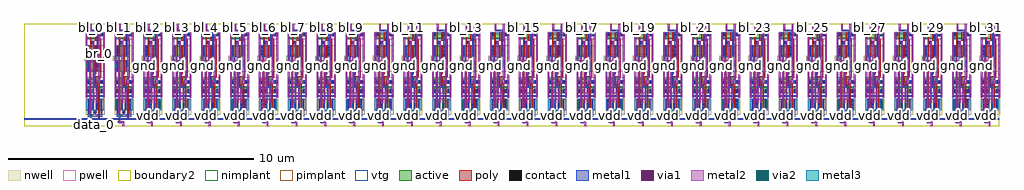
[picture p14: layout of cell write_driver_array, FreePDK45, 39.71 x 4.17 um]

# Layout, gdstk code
import gdstk
lib = gdstk.Library(unit=1e-6, precision=5e-10)
def R(c, l, rs):  # rectangles x0, y0, x1, y1
    for r in rs: c.add(gdstk.rectangle(r[:2], r[2:], *l))
def A(c, l, x, y, w, h, nx, ny, dx, dy):  # array of equal rectangles
    R(c, l, [(x+i*dx, y+j*dy, x+i*dx+w, y+j*dy+h) for i in range(nx) for j in range(ny)])
active = (1, 0)
pwell = (2, 0)
nwell = (3, 0)
nimplant = (4, 0)
pimplant = (5, 0)
vtg = (6, 0)
poly = (9, 0)
contact = (10, 0)
metal1 = (11, 0)
via1 = (12, 0)
metal2 = (13, 0)
via2 = (14, 0)
metal3 = (15, 0)
boundary2 = (239, 0)

write_driver = lib.new_cell('write_driver')
R(write_driver, active, [(0.2925,0.535,0.3825,0.625), (0.04,0.705,0.115,1.065), (0.04,0.705,0.115,1.065), (0.04,0.705,0.3,1.065), (0.225,0.705,0.3,1.065), (0.225,0.705,0.3,1.065), (0.38,0.705,0.455,1.065), (0.38,0.705,0.455,1.065), (0.38,0.705,0.64,1.065), (0.565,0.705,0.64,1.065), (0.565,0.705,0.64,1.065), (0.04,0.71,0.115,1.065), (0.225,0.71,0.3,1.065), (0.38,0.71,0.455,1.065), (0.565,0.71,0.64,1.065), (0.04,1.4,0.115,1.58), (0.04,1.4,0.115,1.58), (0.04,1.4,0.3,1.58), (0.04,1.4,0.115,1.475), (0.225,1.4,0.3,1.58), (0.225,1.4,0.3,1.58), (0.225,1.4,0.3,1.475), (0.38,1.4,0.455,1.58), (0.38,1.4,0.455,1.58), (0.38,1.4,0.64,1.58), (0.38,1.4,0.455,1.475), (0.565,1.4,0.64,1.58), (0.565,1.4,0.64,1.58), (0.565,1.4,0.64,1.475), (0.5725,1.7575,0.6625,1.8475), (0.04,1.765,0.115,1.945), (0.04,1.765,0.115,1.945), (0.04,1.765,0.115,1.84), (0.04,1.765,0.49,1.945), (0.1975,1.765,0.3375,1.945), (0.415,1.765,0.49,1.945), (0.415,1.765,0.49,1.945), (0.415,1.765,0.49,1.84), (0.04,2.28,0.115,2.64), (0.04,2.28,0.115,2.64), (0.04,2.28,0.115,2.635), (0.04,2.28,0.49,2.64), (0.1975,2.28,0.3375,2.64), (0.415,2.28,0.49,2.64), (0.415,2.28,0.49,2.64), (0.415,2.28,0.49,2.635), (-0.045,2.72,0.045,2.81), (0.04,2.8925,0.115,3.2525), (0.04,2.8925,0.115,3.2525), (0.04,2.8925,0.49,3.2525), (0.1925,2.8925,0.3325,3.2525), (0.415,2.8925,0.49,3.2525), (0.415,2.8925,0.49,3.2525), (0.04,2.8975,0.115,3.2525), (0.415,2.8975,0.49,3.2525), (0.04,3.5875,0.115,3.7675), (0.04,3.5875,0.115,3.7675), (0.04,3.5875,0.49,3.7675), (0.1925,3.5875,0.3325,3.7675), (0.415,3.5875,0.49,3.7675), (0.415,3.5875,0.49,3.7675), (0.575,3.685,0.665,3.775), (0.04,3.6925,0.115,3.7675), (0.415,3.6925,0.49,3.7675)])
R(write_driver, pwell, [(-0.035,1.345,0.74,2), (-0.015,1.345,0.355,1.635), (0.325,1.345,0.695,1.635), (0.5175,1.7025,0.7175,1.9025), (-0.015,1.71,0.545,2), (-0.035,3.5325,0.74,3.83), (-0.015,3.5325,0.545,3.8225), (0.52,3.63,0.72,3.83)])
R(write_driver, nwell, [(-0.035,0.48,0.74,1.12), (0.2375,0.48,0.4375,0.68), (-0.015,0.65,0.355,1.12), (0.325,0.65,0.695,1.12), (-0.035,2.225,0.74,3.3), (-0.015,2.225,0.545,2.695), (-0.1,2.665,0.1,2.865), (-0.015,2.8375,0.545,3.3075)])
R(write_driver, nimplant, [(0.2925,0.535,0.3825,0.625), (0.04,1.4,0.3,1.58), (0.38,1.4,0.64,1.58), (0.04,1.765,0.49,1.945), (-0.045,2.72,0.045,2.81), (0.04,3.5875,0.49,3.7675)])
R(write_driver, pimplant, [(0.04,0.705,0.3,1.065), (0.38,0.705,0.64,1.065), (0.5725,1.7575,0.6625,1.8475), (0.04,2.28,0.49,2.64), (0.04,2.8925,0.49,3.2525), (0.575,3.685,0.665,3.775)])
R(write_driver, vtg, [(-0.015,0.65,0.355,1.12), (0.325,0.65,0.695,1.12), (-0.015,1.345,0.355,1.635), (0.325,1.345,0.695,1.635), (-0.015,1.71,0.545,2), (-0.015,2.225,0.545,2.695), (-0.015,2.8375,0.545,3.3075), (-0.015,3.5325,0.545,3.8225)])
R(write_driver, poly, [(0.1325,0.1325,0.2075,0.2075), (0.145,0.1375,0.195,0.65), (0.4725,0.2625,0.5475,0.3375), (0.485,0.2675,0.535,0.65), (0.145,0.65,0.195,0.705), (0.145,0.65,0.195,1.12), (0.485,0.65,0.535,0.705), (0.485,0.65,0.535,1.12), (0.145,1.065,0.195,1.12), (0.485,1.065,0.535,1.12), (0.145,1.12,0.195,1.345), (0.485,1.12,0.535,1.345), (0.145,1.345,0.195,1.635), (0.145,1.345,0.195,1.4), (0.485,1.345,0.535,1.635), (0.485,1.345,0.535,1.4), (0.145,1.58,0.195,1.635), (0.485,1.58,0.535,1.635), (0.145,1.635,0.195,1.71), (0.485,1.635,0.535,1.66), (0.335,1.66,0.535,1.71), (0.145,1.71,0.195,2), (0.145,1.71,0.195,1.765), (0.335,1.71,0.385,2), (0.335,1.71,0.385,1.765), (0.145,1.945,0.195,2), (0.335,1.945,0.385,2), (0.335,1.995,0.59,2.045), (0.54,1.995,0.59,3.4825), (0.145,2,0.195,2.225), (0.2775,2.12,0.3525,2.195), (0.335,2.12,0.385,2.225), (0.145,2.225,0.195,2.28), (0.145,2.225,0.195,2.695), (0.335,2.225,0.385,2.28), (0.335,2.225,0.385,2.695), (0.145,2.64,0.195,2.695), (0.335,2.64,0.385,2.695), (0.335,2.695,0.385,2.8375), (0.145,2.8375,0.195,2.8925), (0.145,2.8375,0.195,3.3075), (0.335,2.8375,0.385,2.8925), (0.335,2.8375,0.385,3.3075), (0.145,3.2525,0.195,3.3075), (0.335,3.2525,0.385,3.3075), (0.145,3.3075,0.195,3.5325), (0.18,3.37,0.255,3.445), (0.335,3.4825,0.59,3.5325), (0.145,3.5325,0.195,3.8225), (0.145,3.5325,0.195,3.5875), (0.335,3.5325,0.385,3.8225), (0.335,3.5325,0.385,3.5875), (0.145,3.7675,0.195,3.8225), (0.335,3.7675,0.385,3.8225)])
A(write_driver, contact, 0.045, 0.715, 0.065, 0.065, 1, 3, 0, 0.14)
A(write_driver, contact, 0.23, 0.715, 0.065, 0.065, 1, 3, 0, 0.14)
A(write_driver, contact, 0.385, 0.715, 0.065, 0.065, 1, 3, 0, 0.14)
A(write_driver, contact, 0.57, 0.715, 0.065, 0.065, 1, 3, 0, 0.14)
A(write_driver, contact, 0.045, 2.285, 0.065, 0.065, 1, 3, 0, 0.14)
A(write_driver, contact, 0.42, 2.285, 0.065, 0.065, 1, 3, 0, 0.14)
A(write_driver, contact, 0.045, 2.9025, 0.065, 0.065, 1, 3, 0, 0.14)
A(write_driver, contact, 0.42, 2.9025, 0.065, 0.065, 1, 3, 0, 0.14)
R(write_driver, contact, [(0.1375,0.1375,0.2025,0.2025), (0.4775,0.2675,0.5425,0.3325), (0.305,0.5475,0.37,0.6125), (0.045,1.405,0.11,1.47), (0.23,1.405,0.295,1.47), (0.385,1.405,0.45,1.47), (0.57,1.405,0.635,1.47), (0.045,1.77,0.11,1.835), (0.42,1.77,0.485,1.835), (0.585,1.77,0.65,1.835), (0.2825,2.125,0.3475,2.19), (-0.0325,2.7325,0.0325,2.7975), (0.185,3.375,0.25,3.44), (0.045,3.6975,0.11,3.7625), (0.42,3.6975,0.485,3.7625), (0.5875,3.6975,0.6525,3.7625)])
R(write_driver, metal1, [(0.2075,0.135,0.3425,0.2), (0.1025,0.1375,0.2375,0.2025), (0.045,0.2675,0.635,0.3325), (0.045,0.2675,0.635,0.3325), (0.045,0.3975,0.635,0.4625), (0.105,0.3975,0.24,0.4625), (0.045,0.4625,0.11,0.68), (0.3025,0.4625,0.3675,0.6125), (0.57,0.4625,0.635,0.68), (0.27,0.5475,0.405,0.6125), (0.045,0.68,0.11,1.095), (0.23,0.68,0.295,1.095), (0.385,0.68,0.45,1.095), (0.57,0.68,0.635,1.095), (0.2475,0.96,0.3125,1.095), (0.3875,0.96,0.4525,1.095), (-0.0325,1.165,0.0325,1.3), (0.6725,1.165,0.7375,1.3), (-0.035,1.2,0.74,1.265), (-0.0325,1.37,0.0325,1.505), (0.0275,1.37,0.04,1.505), (0.035,1.37,0.045,1.505), (0.045,1.37,0.11,1.505), (0.23,1.37,0.295,1.505), (0.2475,1.37,0.3125,1.505), (0.385,1.37,0.45,1.505), (0.3875,1.37,0.4525,1.505), (0.57,1.37,0.635,1.505), (0.63,1.37,0.6725,1.505), (0.6725,1.37,0.7375,1.505), (0.38,1.4525,0.445,1.5775), (0.2825,1.5775,0.3475,2.175), (0.2825,1.5775,0.445,1.6425), (-0.0325,1.735,0.0325,1.87), (0.0275,1.735,0.04,1.87), (0.035,1.735,0.045,1.87), (0.045,1.735,0.11,1.87), (0.4175,1.735,0.4825,1.87), (0.42,1.735,0.485,1.87), (0.585,1.735,0.65,1.87), (0.65,1.735,0.6725,1.87), (0.6725,1.735,0.7375,1.87), (0.2825,2.09,0.3475,2.225), (0.045,2.25,0.11,2.665), (0.4175,2.25,0.4825,2.385), (0.42,2.25,0.485,2.665), (0.095,2.65,0.11,2.785), (0.1075,2.65,0.1725,2.785), (0.045,2.665,0.11,2.8675), (-0.0325,2.6975,0.0325,2.8325), (0.0325,2.6975,0.175,2.8325), (0.045,2.8675,0.11,3.2825), (0.42,2.8675,0.485,3.2825), (0.42,3.2825,0.485,3.6625), (0.185,3.34,0.25,3.475), (0.2475,3.34,0.3125,3.475), (-0.0325,3.6625,0.0325,3.7975), (0.0275,3.6625,0.04,3.7975), (0.035,3.6625,0.045,3.7975), (0.045,3.6625,0.11,3.7975), (0.42,3.6625,0.485,3.7975), (0.5875,3.6625,0.6525,3.7975), (0.6525,3.6625,0.6725,3.7975), (0.6725,3.6625,0.7375,3.7975), (0.42,3.7975,0.485,3.8725), (0.15,3.8725,0.485,3.9375), (0.1525,3.8725,0.2175,4.0075)])
R(write_driver, via1, [(0.2425,0.135,0.3075,0.2), (0.14,0.3975,0.205,0.4625), (0.2475,0.995,0.3125,1.06), (0.3875,0.995,0.4525,1.06), (-0.0325,1.2,0.0325,1.265), (0.6725,1.2,0.7375,1.265), (-0.0325,1.405,0.0325,1.47), (0.2475,1.405,0.3125,1.47), (0.3875,1.405,0.4525,1.47), (0.6725,1.405,0.7375,1.47), (-0.0325,1.77,0.0325,1.835), (0.4175,1.77,0.4825,1.835), (0.6725,1.77,0.7375,1.835), (0.4175,2.285,0.4825,2.35), (0.1075,2.685,0.1725,2.75), (0.2475,3.375,0.3125,3.44), (-0.0325,3.6975,0.0325,3.7625), (0.6725,3.6975,0.7375,3.7625), (0.1525,3.9075,0.2175,3.9725)])
R(write_driver, metal2, [(0.28,0,0.35,0.14), (0.28,0,0.35,0.14), (0.1575,0.1325,0.35,0.2025), (0.2075,0.1325,0.3425,0.2025), (0.105,0.395,0.24,0.465), (0.105,0.395,0.24,0.465), (0.105,0.465,0.175,2.785), (0.245,0.96,0.315,1.095), (0.385,0.96,0.455,1.095), (0.245,1.095,0.315,1.37), (0.385,1.095,0.455,1.37), (-0.035,1.1625,0.035,3.7975), (-0.035,1.1625,0.035,3.7975), (-0.035,1.165,0.035,1.3), (0.67,1.165,0.74,3.7975), (0.67,1.165,0.74,1.3), (-0.035,1.37,0.035,1.505), (0.245,1.37,0.315,3.4675), (0.245,1.37,0.315,1.505), (0.385,1.37,0.455,1.505), (0.67,1.37,0.74,1.505), (-0.035,1.735,0.035,1.87), (0.415,1.735,0.485,1.87), (0.485,1.735,0.555,4.175), (0.485,1.735,0.555,4.175), (0.67,1.735,0.74,1.87), (0.415,2.25,0.485,2.385), (0.105,2.65,0.175,2.785), (0.245,3.34,0.315,3.475), (-0.035,3.6625,0.035,3.7975), (0.67,3.6625,0.74,3.7975), (0.15,3.8725,0.22,4.0075), (0.15,3.875,0.22,4.175), (0.15,3.875,0.22,4.175)])
R(write_driver, boundary2, [(0,0,0.705,4.175)])
write_driver.add(gdstk.Label('en', (0.3325,0.3), layer=11, texttype=0))
write_driver.add(gdstk.Label('din', (0.32,0.035), layer=13, texttype=0))
write_driver.add(gdstk.Label('vdd', (0.1725,0.4325), layer=13, texttype=0))
write_driver.add(gdstk.Label('br', (0.52,4.15), layer=13, texttype=0))
write_driver.add(gdstk.Label('bl', (0.19,4.138), layer=13, texttype=0))
write_driver.add(gdstk.Label('gnd', (-0.005,1.57), layer=13, texttype=0))
write_driver.add(gdstk.Label('din', (0.315,0.07), layer=13, texttype=0))
write_driver.add(gdstk.Label('bl', (0.185,4.025), layer=13, texttype=0))
write_driver.add(gdstk.Label('br', (0.52,2.955), layer=13, texttype=0))
write_driver.add(gdstk.Label('en', (0.34,0.3), layer=11, texttype=0))
write_driver.add(gdstk.Label('vdd', (0.1725,0.43), layer=13, texttype=0))
write_driver.add(gdstk.Label('gnd', (0,2.48), layer=13, texttype=0))

contact_22 = lib.new_cell('contact_22')
R(contact_22, metal2, [(0,0,0.07,0.135)])
R(contact_22, via2, [(0.0025,0.035,0.0675,0.1)])
R(contact_22, metal3, [(0,0,0.07,0.135)])
R(contact_22, boundary2, [(0,0,0.07,0.135)])

write_driver_array = lib.new_cell('write_driver_array')
R(write_driver_array, metal1, [(0,0.2675,39.675,0.3325)])
A(write_driver_array, metal2, 2.825, 0, 0.07, 0.14, 32, 1, 1.175, 0)
A(write_driver_array, metal2, 3.03, 1.735, 0.07, 2.44, 32, 1, 1.175, 0)
A(write_driver_array, metal2, 2.695, 3.875, 0.07, 0.3, 32, 1, 1.175, 0)
A(write_driver_array, metal3, 2.6825, 0.3625, 0.07, 0.135, 32, 1, 1.175, 0)
A(write_driver_array, metal3, 2.51, 2.4125, 0.07, 0.135, 32, 1, 1.175, 0)
R(write_driver_array, boundary2, [(0,0,39.675,4.175)])
write_driver_array.add(gdstk.Reference(write_driver, (2.545,0)))
write_driver_array.add(gdstk.Reference(write_driver, (3.72,0)))
write_driver_array.add(gdstk.Reference(write_driver, (4.895,0)))
write_driver_array.add(gdstk.Reference(write_driver, (6.07,0)))
write_driver_array.add(gdstk.Reference(write_driver, (7.245,0)))
write_driver_array.add(gdstk.Reference(write_driver, (8.42,0)))
write_driver_array.add(gdstk.Reference(write_driver, (9.595,0)))
write_driver_array.add(gdstk.Reference(write_driver, (10.77,0)))
write_driver_array.add(gdstk.Reference(write_driver, (11.945,0)))
write_driver_array.add(gdstk.Reference(write_driver, (13.12,0)))
write_driver_array.add(gdstk.Reference(write_driver, (14.295,0)))
write_driver_array.add(gdstk.Reference(write_driver, (15.47,0)))
write_driver_array.add(gdstk.Reference(write_driver, (16.645,0)))
write_driver_array.add(gdstk.Reference(write_driver, (17.82,0)))
write_driver_array.add(gdstk.Reference(write_driver, (18.995,0)))
write_driver_array.add(gdstk.Reference(write_driver, (20.17,0)))
write_driver_array.add(gdstk.Reference(write_driver, (21.345,0)))
write_driver_array.add(gdstk.Reference(write_driver, (22.52,0)))
write_driver_array.add(gdstk.Reference(write_driver, (23.695,0)))
write_driver_array.add(gdstk.Reference(write_driver, (24.87,0)))
write_driver_array.add(gdstk.Reference(write_driver, (26.045,0)))
write_driver_array.add(gdstk.Reference(write_driver, (27.22,0)))
write_driver_array.add(gdstk.Reference(write_driver, (28.395,0)))
write_driver_array.add(gdstk.Reference(write_driver, (29.57,0)))
write_driver_array.add(gdstk.Reference(write_driver, (30.745,0)))
write_driver_array.add(gdstk.Reference(write_driver, (31.92,0)))
write_driver_array.add(gdstk.Reference(write_driver, (33.095,0)))
write_driver_array.add(gdstk.Reference(write_driver, (34.27,0)))
write_driver_array.add(gdstk.Reference(write_driver, (35.445,0)))
write_driver_array.add(gdstk.Reference(write_driver, (36.62,0)))
write_driver_array.add(gdstk.Reference(write_driver, (37.795,0)))
write_driver_array.add(gdstk.Reference(write_driver, (38.97,0)))
write_driver_array.add(gdstk.Reference(contact_22, (2.6825,0.3625)))
write_driver_array.add(gdstk.Reference(contact_22, (2.51,2.4125)))
write_driver_array.add(gdstk.Reference(contact_22, (3.8575,0.3625)))
write_driver_array.add(gdstk.Reference(contact_22, (3.685,2.4125)))
write_driver_array.add(gdstk.Reference(contact_22, (5.0325,0.3625)))
write_driver_array.add(gdstk.Reference(contact_22, (4.86,2.4125)))
write_driver_array.add(gdstk.Reference(contact_22, (6.2075,0.3625)))
write_driver_array.add(gdstk.Reference(contact_22, (6.035,2.4125)))
write_driver_array.add(gdstk.Reference(contact_22, (7.3825,0.3625)))
write_driver_array.add(gdstk.Reference(contact_22, (7.21,2.4125)))
write_driver_array.add(gdstk.Reference(contact_22, (8.5575,0.3625)))
write_driver_array.add(gdstk.Reference(contact_22, (8.385,2.4125)))
write_driver_array.add(gdstk.Reference(contact_22, (9.7325,0.3625)))
write_driver_array.add(gdstk.Reference(contact_22, (9.56,2.4125)))
write_driver_array.add(gdstk.Reference(contact_22, (10.9075,0.3625)))
write_driver_array.add(gdstk.Reference(contact_22, (10.735,2.4125)))
write_driver_array.add(gdstk.Reference(contact_22, (12.0825,0.3625)))
write_driver_array.add(gdstk.Reference(contact_22, (11.91,2.4125)))
write_driver_array.add(gdstk.Reference(contact_22, (13.2575,0.3625)))
write_driver_array.add(gdstk.Reference(contact_22, (13.085,2.4125)))
write_driver_array.add(gdstk.Reference(contact_22, (14.4325,0.3625)))
write_driver_array.add(gdstk.Reference(contact_22, (14.26,2.4125)))
write_driver_array.add(gdstk.Reference(contact_22, (15.6075,0.3625)))
write_driver_array.add(gdstk.Reference(contact_22, (15.435,2.4125)))
write_driver_array.add(gdstk.Reference(contact_22, (16.7825,0.3625)))
write_driver_array.add(gdstk.Reference(contact_22, (16.61,2.4125)))
write_driver_array.add(gdstk.Reference(contact_22, (17.9575,0.3625)))
write_driver_array.add(gdstk.Reference(contact_22, (17.785,2.4125)))
write_driver_array.add(gdstk.Reference(contact_22, (19.1325,0.3625)))
write_driver_array.add(gdstk.Reference(contact_22, (18.96,2.4125)))
write_driver_array.add(gdstk.Reference(contact_22, (20.3075,0.3625)))
write_driver_array.add(gdstk.Reference(contact_22, (20.135,2.4125)))
write_driver_array.add(gdstk.Reference(contact_22, (21.4825,0.3625)))
write_driver_array.add(gdstk.Reference(contact_22, (21.31,2.4125)))
write_driver_array.add(gdstk.Reference(contact_22, (22.6575,0.3625)))
write_driver_array.add(gdstk.Reference(contact_22, (22.485,2.4125)))
write_driver_array.add(gdstk.Reference(contact_22, (23.8325,0.3625)))
write_driver_array.add(gdstk.Reference(contact_22, (23.66,2.4125)))
write_driver_array.add(gdstk.Reference(contact_22, (25.0075,0.3625)))
write_driver_array.add(gdstk.Reference(contact_22, (24.835,2.4125)))
write_driver_array.add(gdstk.Reference(contact_22, (26.1825,0.3625)))
write_driver_array.add(gdstk.Reference(contact_22, (26.01,2.4125)))
write_driver_array.add(gdstk.Reference(contact_22, (27.3575,0.3625)))
write_driver_array.add(gdstk.Reference(contact_22, (27.185,2.4125)))
write_driver_array.add(gdstk.Reference(contact_22, (28.5325,0.3625)))
write_driver_array.add(gdstk.Reference(contact_22, (28.36,2.4125)))
write_driver_array.add(gdstk.Reference(contact_22, (29.7075,0.3625)))
write_driver_array.add(gdstk.Reference(contact_22, (29.535,2.4125)))
write_driver_array.add(gdstk.Reference(contact_22, (30.8825,0.3625)))
write_driver_array.add(gdstk.Reference(contact_22, (30.71,2.4125)))
write_driver_array.add(gdstk.Reference(contact_22, (32.0575,0.3625)))
write_driver_array.add(gdstk.Reference(contact_22, (31.885,2.4125)))
write_driver_array.add(gdstk.Reference(contact_22, (33.2325,0.3625)))
write_driver_array.add(gdstk.Reference(contact_22, (33.06,2.4125)))
write_driver_array.add(gdstk.Reference(contact_22, (34.4075,0.3625)))
write_driver_array.add(gdstk.Reference(contact_22, (34.235,2.4125)))
write_driver_array.add(gdstk.Reference(contact_22, (35.5825,0.3625)))
write_driver_array.add(gdstk.Reference(contact_22, (35.41,2.4125)))
write_driver_array.add(gdstk.Reference(contact_22, (36.7575,0.3625)))
write_driver_array.add(gdstk.Reference(contact_22, (36.585,2.4125)))
write_driver_array.add(gdstk.Reference(contact_22, (37.9325,0.3625)))
write_driver_array.add(gdstk.Reference(contact_22, (37.76,2.4125)))
write_driver_array.add(gdstk.Reference(contact_22, (39.1075,0.3625)))
write_driver_array.add(gdstk.Reference(contact_22, (38.935,2.4125)))
write_driver_array.add(gdstk.Label('data_0', (2.86,0.07), layer=13, texttype=0))
write_driver_array.add(gdstk.Label('bl_0', (2.73,4.025), layer=13, texttype=0))
write_driver_array.add(gdstk.Label('br_0', (3.065,2.955), layer=13, texttype=0))
write_driver_array.add(gdstk.Label('vdd', (27.3925,0.43), layer=15, texttype=0))
write_driver_array.add(gdstk.Label('vdd', (37.9675,0.43), layer=15, texttype=0))
write_driver_array.add(gdstk.Label('vdd', (36.7925,0.43), layer=15, texttype=0))
write_driver_array.add(gdstk.Label('vdd', (33.2675,0.43), layer=15, texttype=0))
write_driver_array.add(gdstk.Label('vdd', (30.9175,0.43), layer=15, texttype=0))
write_driver_array.add(gdstk.Label('vdd', (13.2925,0.43), layer=15, texttype=0))
write_driver_array.add(gdstk.Label('vdd', (3.8925,0.43), layer=15, texttype=0))
write_driver_array.add(gdstk.Label('vdd', (19.1675,0.43), layer=15, texttype=0))
write_driver_array.add(gdstk.Label('vdd', (2.7175,0.43), layer=15, texttype=0))
write_driver_array.add(gdstk.Label('vdd', (14.4675,0.43), layer=15, texttype=0))
write_driver_array.add(gdstk.Label('vdd', (35.6175,0.43), layer=15, texttype=0))
write_driver_array.add(gdstk.Label('vdd', (8.5925,0.43), layer=15, texttype=0))
write_driver_array.add(gdstk.Label('vdd', (20.3425,0.43), layer=15, texttype=0))
write_driver_array.add(gdstk.Label('vdd', (26.2175,0.43), layer=15, texttype=0))
write_driver_array.add(gdstk.Label('vdd', (28.5675,0.43), layer=15, texttype=0))
write_driver_array.add(gdstk.Label('vdd', (10.9425,0.43), layer=15, texttype=0))
write_driver_array.add(gdstk.Label('vdd', (6.2425,0.43), layer=15, texttype=0))
write_driver_array.add(gdstk.Label('vdd', (39.1425,0.43), layer=15, texttype=0))
write_driver_array.add(gdstk.Label('vdd', (15.6425,0.43), layer=15, texttype=0))
write_driver_array.add(gdstk.Label('vdd', (25.0425,0.43), layer=15, texttype=0))
write_driver_array.add(gdstk.Label('vdd', (21.5175,0.43), layer=15, texttype=0))
write_driver_array.add(gdstk.Label('vdd', (9.7675,0.43), layer=15, texttype=0))
write_driver_array.add(gdstk.Label('vdd', (34.4425,0.43), layer=15, texttype=0))
write_driver_array.add(gdstk.Label('vdd', (22.6925,0.43), layer=15, texttype=0))
write_driver_array.add(gdstk.Label('vdd', (12.1175,0.43), layer=15, texttype=0))
write_driver_array.add(gdstk.Label('vdd', (7.4175,0.43), layer=15, texttype=0))
write_driver_array.add(gdstk.Label('vdd', (5.0675,0.43), layer=15, texttype=0))
write_driver_array.add(gdstk.Label('vdd', (16.8175,0.43), layer=15, texttype=0))
write_driver_array.add(gdstk.Label('vdd', (23.8675,0.43), layer=15, texttype=0))
write_driver_array.add(gdstk.Label('vdd', (17.9925,0.43), layer=15, texttype=0))
write_driver_array.add(gdstk.Label('vdd', (29.7425,0.43), layer=15, texttype=0))
write_driver_array.add(gdstk.Label('vdd', (32.0925,0.43), layer=15, texttype=0))
write_driver_array.add(gdstk.Label('gnd', (3.72,2.48), layer=15, texttype=0))
write_driver_array.add(gdstk.Label('gnd', (10.77,2.48), layer=15, texttype=0))
write_driver_array.add(gdstk.Label('gnd', (17.82,2.48), layer=15, texttype=0))
write_driver_array.add(gdstk.Label('gnd', (2.545,2.48), layer=15, texttype=0))
write_driver_array.add(gdstk.Label('gnd', (15.47,2.48), layer=15, texttype=0))
write_driver_array.add(gdstk.Label('gnd', (7.245,2.48), layer=15, texttype=0))
write_driver_array.add(gdstk.Label('gnd', (37.795,2.48), layer=15, texttype=0))
write_driver_array.add(gdstk.Label('gnd', (31.92,2.48), layer=15, texttype=0))
write_driver_array.add(gdstk.Label('gnd', (28.395,2.48), layer=15, texttype=0))
write_driver_array.add(gdstk.Label('gnd', (30.745,2.48), layer=15, texttype=0))
write_driver_array.add(gdstk.Label('gnd', (21.345,2.48), layer=15, texttype=0))
write_driver_array.add(gdstk.Label('gnd', (33.095,2.48), layer=15, texttype=0))
write_driver_array.add(gdstk.Label('gnd', (14.295,2.48), layer=15, texttype=0))
write_driver_array.add(gdstk.Label('gnd', (29.57,2.48), layer=15, texttype=0))
write_driver_array.add(gdstk.Label('gnd', (13.12,2.48), layer=15, texttype=0))
write_driver_array.add(gdstk.Label('gnd', (18.995,2.48), layer=15, texttype=0))
write_driver_array.add(gdstk.Label('gnd', (9.595,2.48), layer=15, texttype=0))
write_driver_array.add(gdstk.Label('gnd', (24.87,2.48), layer=15, texttype=0))
write_driver_array.add(gdstk.Label('gnd', (26.045,2.48), layer=15, texttype=0))
write_driver_array.add(gdstk.Label('gnd', (6.07,2.48), layer=15, texttype=0))
write_driver_array.add(gdstk.Label('gnd', (23.695,2.48), layer=15, texttype=0))
write_driver_array.add(gdstk.Label('gnd', (38.97,2.48), layer=15, texttype=0))
write_driver_array.add(gdstk.Label('gnd', (16.645,2.48), layer=15, texttype=0))
write_driver_array.add(gdstk.Label('gnd', (27.22,2.48), layer=15, texttype=0))
write_driver_array.add(gdstk.Label('gnd', (34.27,2.48), layer=15, texttype=0))
write_driver_array.add(gdstk.Label('gnd', (20.17,2.48), layer=15, texttype=0))
write_driver_array.add(gdstk.Label('gnd', (8.42,2.48), layer=15, texttype=0))
write_driver_array.add(gdstk.Label('gnd', (36.62,2.48), layer=15, texttype=0))
write_driver_array.add(gdstk.Label('gnd', (35.445,2.48), layer=15, texttype=0))
write_driver_array.add(gdstk.Label('gnd', (11.945,2.48), layer=15, texttype=0))
write_driver_array.add(gdstk.Label('gnd', (4.895,2.48), layer=15, texttype=0))
write_driver_array.add(gdstk.Label('gnd', (22.52,2.48), layer=15, texttype=0))
write_driver_array.add(gdstk.Label('data_1', (4.035,0.07), layer=13, texttype=0))
write_driver_array.add(gdstk.Label('bl_1', (3.905,4.025), layer=13, texttype=0))
write_driver_array.add(gdstk.Label('br_1', (4.24,2.955), layer=13, texttype=0))
write_driver_array.add(gdstk.Label('data_2', (5.21,0.07), layer=13, texttype=0))
write_driver_array.add(gdstk.Label('bl_2', (5.08,4.025), layer=13, texttype=0))
write_driver_array.add(gdstk.Label('br_2', (5.415,2.955), layer=13, texttype=0))
write_driver_array.add(gdstk.Label('data_3', (6.385,0.07), layer=13, texttype=0))
write_driver_array.add(gdstk.Label('bl_3', (6.255,4.025), layer=13, texttype=0))
write_driver_array.add(gdstk.Label('br_3', (6.59,2.955), layer=13, texttype=0))
write_driver_array.add(gdstk.Label('data_4', (7.56,0.07), layer=13, texttype=0))
write_driver_array.add(gdstk.Label('bl_4', (7.43,4.025), layer=13, texttype=0))
write_driver_array.add(gdstk.Label('br_4', (7.765,2.955), layer=13, texttype=0))
write_driver_array.add(gdstk.Label('data_5', (8.735,0.07), layer=13, texttype=0))
write_driver_array.add(gdstk.Label('bl_5', (8.605,4.025), layer=13, texttype=0))
write_driver_array.add(gdstk.Label('br_5', (8.94,2.955), layer=13, texttype=0))
write_driver_array.add(gdstk.Label('data_6', (9.91,0.07), layer=13, texttype=0))
write_driver_array.add(gdstk.Label('bl_6', (9.78,4.025), layer=13, texttype=0))
write_driver_array.add(gdstk.Label('br_6', (10.115,2.955), layer=13, texttype=0))
write_driver_array.add(gdstk.Label('data_7', (11.085,0.07), layer=13, texttype=0))
write_driver_array.add(gdstk.Label('bl_7', (10.955,4.025), layer=13, texttype=0))
write_driver_array.add(gdstk.Label('br_7', (11.29,2.955), layer=13, texttype=0))
write_driver_array.add(gdstk.Label('data_8', (12.26,0.07), layer=13, texttype=0))
write_driver_array.add(gdstk.Label('bl_8', (12.13,4.025), layer=13, texttype=0))
write_driver_array.add(gdstk.Label('br_8', (12.465,2.955), layer=13, texttype=0))
write_driver_array.add(gdstk.Label('data_9', (13.435,0.07), layer=13, texttype=0))
write_driver_array.add(gdstk.Label('bl_9', (13.305,4.025), layer=13, texttype=0))
write_driver_array.add(gdstk.Label('br_9', (13.64,2.955), layer=13, texttype=0))
write_driver_array.add(gdstk.Label('data_10', (14.61,0.07), layer=13, texttype=0))
write_driver_array.add(gdstk.Label('bl_10', (14.48,4.025), layer=13, texttype=0))
write_driver_array.add(gdstk.Label('br_10', (14.815,2.955), layer=13, texttype=0))
write_driver_array.add(gdstk.Label('data_11', (15.785,0.07), layer=13, texttype=0))
write_driver_array.add(gdstk.Label('bl_11', (15.655,4.025), layer=13, texttype=0))
write_driver_array.add(gdstk.Label('br_11', (15.99,2.955), layer=13, texttype=0))
write_driver_array.add(gdstk.Label('data_12', (16.96,0.07), layer=13, texttype=0))
write_driver_array.add(gdstk.Label('bl_12', (16.83,4.025), layer=13, texttype=0))
write_driver_array.add(gdstk.Label('br_12', (17.165,2.955), layer=13, texttype=0))
write_driver_array.add(gdstk.Label('data_13', (18.135,0.07), layer=13, texttype=0))
write_driver_array.add(gdstk.Label('bl_13', (18.005,4.025), layer=13, texttype=0))
write_driver_array.add(gdstk.Label('br_13', (18.34,2.955), layer=13, texttype=0))
write_driver_array.add(gdstk.Label('data_14', (19.31,0.07), layer=13, texttype=0))
write_driver_array.add(gdstk.Label('bl_14', (19.18,4.025), layer=13, texttype=0))
write_driver_array.add(gdstk.Label('br_14', (19.515,2.955), layer=13, texttype=0))
write_driver_array.add(gdstk.Label('data_15', (20.485,0.07), layer=13, texttype=0))
write_driver_array.add(gdstk.Label('bl_15', (20.355,4.025), layer=13, texttype=0))
write_driver_array.add(gdstk.Label('br_15', (20.69,2.955), layer=13, texttype=0))
write_driver_array.add(gdstk.Label('data_16', (21.66,0.07), layer=13, texttype=0))
write_driver_array.add(gdstk.Label('bl_16', (21.53,4.025), layer=13, texttype=0))
write_driver_array.add(gdstk.Label('br_16', (21.865,2.955), layer=13, texttype=0))
write_driver_array.add(gdstk.Label('data_17', (22.835,0.07), layer=13, texttype=0))
write_driver_array.add(gdstk.Label('bl_17', (22.705,4.025), layer=13, texttype=0))
write_driver_array.add(gdstk.Label('br_17', (23.04,2.955), layer=13, texttype=0))
write_driver_array.add(gdstk.Label('data_18', (24.01,0.07), layer=13, texttype=0))
write_driver_array.add(gdstk.Label('bl_18', (23.88,4.025), layer=13, texttype=0))
write_driver_array.add(gdstk.Label('br_18', (24.215,2.955), layer=13, texttype=0))
write_driver_array.add(gdstk.Label('data_19', (25.185,0.07), layer=13, texttype=0))
write_driver_array.add(gdstk.Label('bl_19', (25.055,4.025), layer=13, texttype=0))
write_driver_array.add(gdstk.Label('br_19', (25.39,2.955), layer=13, texttype=0))
write_driver_array.add(gdstk.Label('data_20', (26.36,0.07), layer=13, texttype=0))
write_driver_array.add(gdstk.Label('bl_20', (26.23,4.025), layer=13, texttype=0))
write_driver_array.add(gdstk.Label('br_20', (26.565,2.955), layer=13, texttype=0))
write_driver_array.add(gdstk.Label('data_21', (27.535,0.07), layer=13, texttype=0))
write_driver_array.add(gdstk.Label('bl_21', (27.405,4.025), layer=13, texttype=0))
write_driver_array.add(gdstk.Label('br_21', (27.74,2.955), layer=13, texttype=0))
write_driver_array.add(gdstk.Label('data_22', (28.71,0.07), layer=13, texttype=0))
write_driver_array.add(gdstk.Label('bl_22', (28.58,4.025), layer=13, texttype=0))
write_driver_array.add(gdstk.Label('br_22', (28.915,2.955), layer=13, texttype=0))
write_driver_array.add(gdstk.Label('data_23', (29.885,0.07), layer=13, texttype=0))
write_driver_array.add(gdstk.Label('bl_23', (29.755,4.025), layer=13, texttype=0))
write_driver_array.add(gdstk.Label('br_23', (30.09,2.955), layer=13, texttype=0))
write_driver_array.add(gdstk.Label('data_24', (31.06,0.07), layer=13, texttype=0))
write_driver_array.add(gdstk.Label('bl_24', (30.93,4.025), layer=13, texttype=0))
write_driver_array.add(gdstk.Label('br_24', (31.265,2.955), layer=13, texttype=0))
write_driver_array.add(gdstk.Label('data_25', (32.235,0.07), layer=13, texttype=0))
write_driver_array.add(gdstk.Label('bl_25', (32.105,4.025), layer=13, texttype=0))
write_driver_array.add(gdstk.Label('br_25', (32.44,2.955), layer=13, texttype=0))
write_driver_array.add(gdstk.Label('data_26', (33.41,0.07), layer=13, texttype=0))
write_driver_array.add(gdstk.Label('bl_26', (33.28,4.025), layer=13, texttype=0))
write_driver_array.add(gdstk.Label('br_26', (33.615,2.955), layer=13, texttype=0))
write_driver_array.add(gdstk.Label('data_27', (34.585,0.07), layer=13, texttype=0))
write_driver_array.add(gdstk.Label('bl_27', (34.455,4.025), layer=13, texttype=0))
write_driver_array.add(gdstk.Label('br_27', (34.79,2.955), layer=13, texttype=0))
write_driver_array.add(gdstk.Label('data_28', (35.76,0.07), layer=13, texttype=0))
write_driver_array.add(gdstk.Label('bl_28', (35.63,4.025), layer=13, texttype=0))
write_driver_array.add(gdstk.Label('br_28', (35.965,2.955), layer=13, texttype=0))
write_driver_array.add(gdstk.Label('data_29', (36.935,0.07), layer=13, texttype=0))
write_driver_array.add(gdstk.Label('bl_29', (36.805,4.025), layer=13, texttype=0))
write_driver_array.add(gdstk.Label('br_29', (37.14,2.955), layer=13, texttype=0))
write_driver_array.add(gdstk.Label('data_30', (38.11,0.07), layer=13, texttype=0))
write_driver_array.add(gdstk.Label('bl_30', (37.98,4.025), layer=13, texttype=0))
write_driver_array.add(gdstk.Label('br_30', (38.315,2.955), layer=13, texttype=0))
write_driver_array.add(gdstk.Label('data_31', (39.285,0.07), layer=13, texttype=0))
write_driver_array.add(gdstk.Label('bl_31', (39.155,4.025), layer=13, texttype=0))
write_driver_array.add(gdstk.Label('br_31', (39.49,2.955), layer=13, texttype=0))
write_driver_array.add(gdstk.Label('en', (19.8375,0.3), layer=11, texttype=0))

lib.write_gds('write_driver_array.gds')
